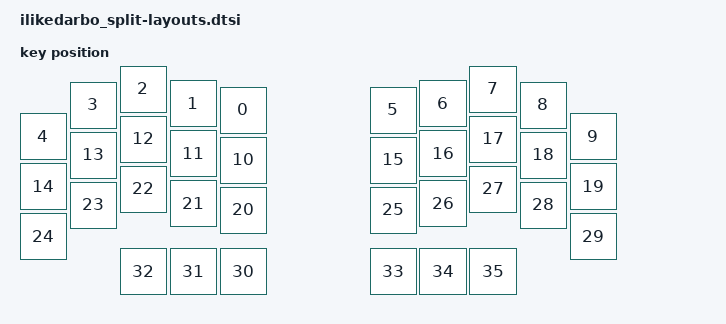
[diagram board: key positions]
// See https://zmk.dev/docs/development/hardware-integration/physical-layouts
// for how to configure this.
// might need a postion map
// see https://zmk.dev/docs/development/hardware-integration/physical-layouts#position-map
// created layout with this tool
// https://zmk-physical-layout-converter.streamlit.app/

#include <physical_layouts.dtsi>

/ {
    physical_layout0: physical_layout_0 {
        compatible = "zmk,physical-layout";
        display-name = "Default";

        kscan = <&kscan0>;
        transform = <&default_transform0>;

        keys  //                     w   h    x    y     rot    rx    ry
            = <&key_physical_attrs 100 100  400   42       0     0     0>
            , <&key_physical_attrs 100 100  300   29       0     0     0>
            , <&key_physical_attrs 100 100  200    0       0     0     0>
            , <&key_physical_attrs 100 100  100   32       0     0     0>
            , <&key_physical_attrs 100 100    0   95       0     0     0>
            , <&key_physical_attrs 100 100  700   42       0     0     0>
            , <&key_physical_attrs 100 100  800   29       0     0     0>
            , <&key_physical_attrs 100 100  900    0       0     0     0>
            , <&key_physical_attrs 100 100 1000   32       0     0     0>
            , <&key_physical_attrs 100 100 1100   95       0     0     0>
            , <&key_physical_attrs 100 100  400  142       0     0     0>
            , <&key_physical_attrs 100 100  300  129       0     0     0>
            , <&key_physical_attrs 100 100  200  100       0     0     0>
            , <&key_physical_attrs 100 100  100  132       0     0     0>
            , <&key_physical_attrs 100 100    0  195       0     0     0>
            , <&key_physical_attrs 100 100  700  142       0     0     0>
            , <&key_physical_attrs 100 100  800  129       0     0     0>
            , <&key_physical_attrs 100 100  900  100       0     0     0>
            , <&key_physical_attrs 100 100 1000  132       0     0     0>
            , <&key_physical_attrs 100 100 1100  195       0     0     0>
            , <&key_physical_attrs 100 100  400  242       0     0     0>
            , <&key_physical_attrs 100 100  300  229       0     0     0>
            , <&key_physical_attrs 100 100  200  200       0     0     0>
            , <&key_physical_attrs 100 100  100  232       0     0     0>
            , <&key_physical_attrs 100 100    0  295       0     0     0>
            , <&key_physical_attrs 100 100  700  242       0     0     0>
            , <&key_physical_attrs 100 100  800  229       0     0     0>
            , <&key_physical_attrs 100 100  900  200       0     0     0>
            , <&key_physical_attrs 100 100 1000  232       0     0     0>
            , <&key_physical_attrs 100 100 1100  295       0     0     0>
            , <&key_physical_attrs 100 100  400  365       0     0     0>
            , <&key_physical_attrs 100 100  300  365       0     0     0>
            , <&key_physical_attrs 100 100  200  365       0     0     0>
            , <&key_physical_attrs 100 100  700  365       0     0     0>
            , <&key_physical_attrs 100 100  800  365       0     0     0>
            , <&key_physical_attrs 100 100  900  365       0     0     0>
            ;
    };
};


// #include <physical_layouts.dtsi>

// / {
//     physical_layout0: physical_layout_0 {
//         compatible = "zmk,physical-layout";
//         display-name = "Default";

//         kscan = <&kscan>;
//         transform = <&default_transform>;

//         keys  //                     w   h    x    y     rot    rx    ry
//             = <&key_physical_attrs 100 100    0   95       0     0     0>
//             , <&key_physical_attrs 100 100  100   32       0     0     0>
//             , <&key_physical_attrs 100 100  200    0       0     0     0>
//             , <&key_physical_attrs 100 100  300   29       0     0     0>
//             , <&key_physical_attrs 100 100  400   42       0     0     0>
//             , <&key_physical_attrs 100 100  700   42       0     0     0>
//             , <&key_physical_attrs 100 100  800   29       0     0     0>
//             , <&key_physical_attrs 100 100  900    0       0     0     0>
//             , <&key_physical_attrs 100 100 1000   32       0     0     0>
//             , <&key_physical_attrs 100 100 1100   95       0     0     0>
//             , <&key_physical_attrs 100 100    0  195       0     0     0>
//             , <&key_physical_attrs 100 100  100  132       0     0     0>
//             , <&key_physical_attrs 100 100  200  100       0     0     0>
//             , <&key_physical_attrs 100 100  300  129       0     0     0>
//             , <&key_physical_attrs 100 100  400  142       0     0     0>
//             , <&key_physical_attrs 100 100  700  142       0     0     0>
//             , <&key_physical_attrs 100 100  800  129       0     0     0>
//             , <&key_physical_attrs 100 100  900  100       0     0     0>
//             , <&key_physical_attrs 100 100 1000  132       0     0     0>
//             , <&key_physical_attrs 100 100 1100  195       0     0     0>
//             , <&key_physical_attrs 100 100    0  295       0     0     0>
//             , <&key_physical_attrs 100 100  100  232       0     0     0>
//             , <&key_physical_attrs 100 100  200  200       0     0     0>
//             , <&key_physical_attrs 100 100  300  229       0     0     0>
//             , <&key_physical_attrs 100 100  400  242       0     0     0>
//             , <&key_physical_attrs 100 100  700  242       0     0     0>
//             , <&key_physical_attrs 100 100  800  229       0     0     0>
//             , <&key_physical_attrs 100 100  900  200       0     0     0>
//             , <&key_physical_attrs 100 100 1000  232       0     0     0>
//             , <&key_physical_attrs 100 100 1100  295       0     0     0>
//             , <&key_physical_attrs 100 100  200  365       0     0     0>
//             , <&key_physical_attrs 100 100  300  365       0     0     0>
//             , <&key_physical_attrs 100 100  400  365       0     0     0>
//             , <&key_physical_attrs 100 100  700  365       0     0     0>
//             , <&key_physical_attrs 100 100  800  365       0     0     0>
//             , <&key_physical_attrs 100 100  900  365       0     0     0>
//             ;
//     };
// };
